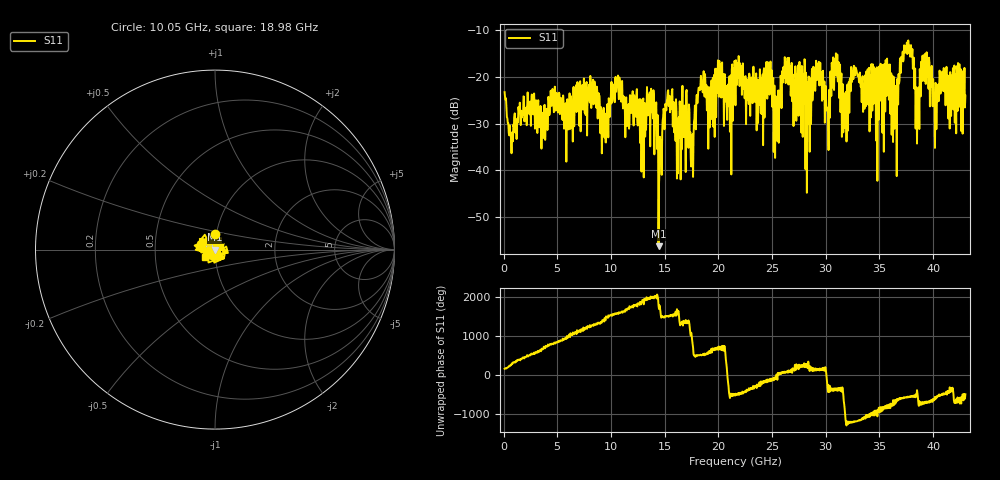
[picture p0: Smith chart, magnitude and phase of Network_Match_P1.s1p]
# Hz S RI R 50.000000
! Metas.Vna.Tools, 2.9.9438.25149
! Metas.Vna.Data, 2.9.9438.25100
! Created: UTC 2026.07.01 05:48:04
! FREQ  re:S1,1  im:S1,1
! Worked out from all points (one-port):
!   1001 points, 100 MHz to 43 GHz, reference 50 ohm
!   lowest |S11| = -56.4 dB at 14.43 GHz (marker M1), VSWR 1.00, Z = 50.2 - j0.0198 ohm
!   |S11| at or under -10 dB: start of sweep to end of sweep
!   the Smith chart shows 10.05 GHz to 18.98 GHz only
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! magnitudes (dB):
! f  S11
! 100 MHz  -23.3
! 700.6 MHz  -33.1
! 5.463 GHz  -29.0
! 8.294 GHz  -21.5
! 9.366 GHz  -32.7
! 10.82 GHz  -20.9
! 13.06 GHz  -41.6
! 13.79 GHz  -27.6
! 14.43 GHz  -56.4
! 15.5 GHz  -27.6
! 16.19 GHz  -30.0
! 17.56 GHz  -34.0
! 18.42 GHz  -20.6
! 20.99 GHz  -21.8
! 21.55 GHz  -17.7
! 24.68 GHz  -22.6
! 25.37 GHz  -27.5
! 26.14 GHz  -20.2
! 26.91 GHz  -22.7
! 30.9 GHz  -19.0
! 31.85 GHz  -25.0
! 32.27 GHz  -20.3
! 36.48 GHz  -31.0
! 37.64 GHz  -14.5
! 38.5 GHz  -34.3
! 39.31 GHz  -21.5
! 40.17 GHz  -35.2
! 43 GHz  -24.0
